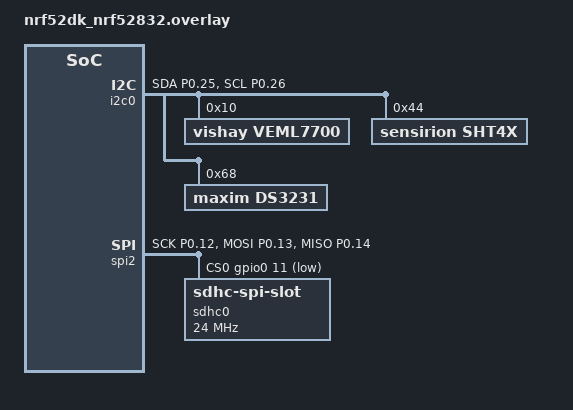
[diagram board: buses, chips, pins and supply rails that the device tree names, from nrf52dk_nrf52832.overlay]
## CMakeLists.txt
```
cmake_minimum_required(VERSION 3.20.0)
find_package(Zephyr REQUIRED HINTS $ENV{ZEPHYR_BASE})

project(cactuslux_firmware)

#add libraries
#include_directories(include)
#add_library(Adafruit_VEML7700 STATIC lib/Adafruit_VEML7700.cpp)
#add_library(simple_math STATIC lib/simple_math.c)

target_sources(app PRIVATE src/main.c)
#target_link_libraries(app PRIVATE simple_math)
```

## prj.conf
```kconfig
CONFIG_LOG_PRINTK=n
CONFIG_LOG_BACKEND_RTT=y
CONFIG_LOG=n
CONFIG_LOG_BACKEND_UART=y
CONFIG_PRINTK=y

CONFIG_SPI=y
CONFIG_I2C=y
CONFIG_SENSOR=y
CONFIG_GPIO=y

CONFIG_VEML7700=y
CONFIG_CBPRINTF_FP_SUPPORT=y

CONFIG_DISK_ACCESS=y
CONFIG_FILE_SYSTEM=y
CONFIG_FAT_FILESYSTEM_ELM=y
CONFIG_DISK_DRIVER_SDMMC=y
CONFIG_MAIN_STACK_SIZE=2048

# For RTC
CONFIG_COUNTER=y
CONFIG_COUNTER_MAXIM_DS3231=y
CONFIG_COUNTER_INIT_PRIORITY=65
CONFIG_REQUIRES_FULL_LIBC=y # Minimal libc doesn't have strftime()
```

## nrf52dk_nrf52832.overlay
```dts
// To get started, press Ctrl+Space to bring up the completion menu and view the available nodes.

// You can also use the buttons in the sidebar to perform actions on nodes.
// Actions currently available include:

// * Enabling / disabling the node
// * Adding the bus to a bus
// * Removing the node
// * Connecting ADC channels

// For more help, browse the DeviceTree documentation at https://docs.zephyrproject.org/latest/guides/dts/index.html
// You can also visit the nRF DeviceTree extension documentation at https://nrfconnect.github.io/vscode-nrf-connect/devicetree/nrfdevicetree.html

&i2c0 {
    compatible = "nordic,nrf-twim";
    status = "okay";
    pinctrl-0 = <&i2c0_default>;
	pinctrl-1 = <&i2c0_sleep>;
	pinctrl-names = "default", "sleep";

    veml7700:veml7700@10{
        compatible = "vishay,veml7700";
        reg = < 0x10 >;
        label = "VEML7700";
    };

	sht4x:sht4x@44{
		compatible = "sensirion,sht4x";
		reg = <0x44>;
		repeatability = <2>;
	};

	ds3231: ds3231@68 {
		compatible = "maxim,ds3231";
		reg = <0x68>;
		//isw-gpios = <&gpio0 0 (GPIO_PULL_UP | GPIO_ACTIVE_LOW)>;
	};
};

&pinctrl{
    i2c0_default: i2c0_default {
		group1 {
			psels = <NRF_PSEL(TWIM_SDA, 0, 25)>,
				<NRF_PSEL(TWIM_SCL, 0, 26)>;
		};
	};

	i2c0_sleep: i2c0_sleep {
		group1 {
			psels = <NRF_PSEL(TWIM_SDA, 0, 25)>,
				<NRF_PSEL(TWIM_SCL, 0, 26)>;
			low-power-enable;
		};
	};

	spi2_default: spi2_default {
		group1 {
			psels = <NRF_PSEL(SPIM_SCK, 0, 12)>,
				<NRF_PSEL(SPIM_MOSI, 0, 13)>,
				<NRF_PSEL(SPIM_MISO, 0, 14)>;
		};
	};

	spi2_sleep: spi2_sleep {
		group1 {
			psels = <NRF_PSEL(SPIM_SCK, 0, 12)>,
				<NRF_PSEL(SPIM_MOSI, 0, 13)>,
				<NRF_PSEL(SPIM_MISO, 0, 14)>;
			low-power-enable;
		};
	};
};

&spi0 {
    status = "disabled";
};

&spi2 {
	compatible = "nordic,nrf-spi";
	status = "okay";
	cs-gpios = <&gpio0 11 GPIO_ACTIVE_LOW>;
	pinctrl-0 = <&spi2_default>;
	pinctrl-1 = <&spi2_sleep>;

	sdhc0:sdhc@0 {
		compatible = "zephyr,sdhc-spi-slot";
		reg = <0x0>;
		status = "okay";
		spi-max-frequency = <24000000>;
		mmc {
			compatible = "zephyr,sdmmc-disk";
			status = "okay";
			//disk-name = "SD"; //only for 3.7.0 and beyond
		};
	};

	pinctrl-names = "default", "sleep";
};
```

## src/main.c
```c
#include <stdio.h>
#include <zephyr/kernel.h>
#include <zephyr/drivers/gpio.h>
#include <zephyr/drivers/sensor.h>
#include <zephyr/drivers/sensor/veml7700.h> //required for enums
#include <zephyr/drivers/i2c.h>
#include <zephyr/device.h>
#include <zephyr/storage/disk_access.h>
#include <zephyr/logging/log.h>
#include <zephyr/fs/fs.h>
#include <ff.h>
#include <math.h>
#include <zephyr/drivers/rtc/maxim_ds3231.h>
#include <zephyr/drivers/counter.h>
#include <time.h>

// Defines for Lux sensor
#define I2C0_NODE DT_NODELABEL(veml7700)

// Defines for SD Card
#define MAX_PATH 128
#define SOME_FILE_NAME "data.txt"
#define SOME_DIR_NAME "data"
#define SOME_REQUIRED_LEN MAX(sizeof(SOME_FILE_NAME), sizeof(SOME_DIR_NAME))

// Setup for SD Card with fatfs library
static const char *disk_mount_pt = "/SD:";
LOG_MODULE_REGISTER(main);
static int lsdir(const char *path);

static FATFS fat_fs;
/* mounting info */
static struct fs_mount_t mp = {
	.type = FS_FATFS,
	.fs_data = &fat_fs,
};

typedef struct {
	int32_t lux;
	float temp;
	float rh;
	char datetime[128];
} SensorData;

/* Function to create data directory and file if it doesn't exist */
static bool create_directory(const char *base_path) {
	char path[MAX_PATH];
	struct fs_file_t file;
	int base = strlen(base_path);

	fs_file_t_init(&file);

	if (base >= (sizeof(path) - SOME_REQUIRED_LEN)) {
		LOG_ERR("Not enough concatenation buffer to create file paths");
		return false;
	}

	strncpy(path, base_path, sizeof(path)); //creates the base path

	path[base++] = '/';
	path[base] = 0; //null terminates after the "/"
	strcat(&path[base], SOME_DIR_NAME); //Adds the directory name
	//LOG_INF("Base path before directory created: %s\n", path);

	if (fs_mkdir(path) == -EEXIST){
		LOG_ERR("Failed to create dir because already exists, %s", path);
	}
	else {
		LOG_ERR("Failed to create dir, %s", path);
	}

	//Update the path to where the file is created
	base += strlen(SOME_DIR_NAME);
	path[base++] = '/';
	path[base] = 0;
	strcat(&path[base], SOME_FILE_NAME);
	//LOG_INF("Base path after directory created: %s\n", path);

	if (fs_open(&file, path, FS_O_CREATE) != 0) {
		LOG_ERR("Failed to create file %s", path);
		return false;
	}
	fs_close(&file);

	return true;
}

/* Format times as: YYYY-MM-DD HH:MM:SS DOW DOY */
static char *format_time(struct tm *time){ 
	static char buf[64]; //buffer to store formatted time
	char *bp = buf; //pointer to the current write position
	char *const bpe = bp + sizeof(buf); //pointer to the end of the buffer
	//struct tm *tp = time;
	bp += strftime(bp, bpe - bp, "%Y-%m-%d %H:%M:%S", time); //format date and time as a string, adjusts the write location of bp by N*sizeof(char)
	bp += strftime(bp, bpe - bp, " %a", time);
	return buf;
}

struct tm get_rtc_time(const struct device *i2c_dev){
	// Directly reads and interprets the date time registers of the DS3231, outputs a tm struct
	uint8_t buf_sec = 0, buf_min = 0, buf_hour = 0, buf_day = 0, buf_date = 0, buf_month = 0, buf_year = 0;
	struct tm current_time = {0};
	int ret = i2c_reg_read_byte(i2c_dev, 0x68, 0x00, &buf_sec);
	ret = i2c_reg_read_byte(i2c_dev, 0x68, 0x01, &buf_min);
	ret = i2c_reg_read_byte(i2c_dev, 0x68, 0x02, &buf_hour);
	ret = i2c_reg_read_byte(i2c_dev, 0x68, 0x03, &buf_day);
	ret = i2c_reg_read_byte(i2c_dev, 0x68, 0x04, &buf_date);
	ret = i2c_reg_read_byte(i2c_dev, 0x68, 0x05, &buf_month);
	ret = i2c_reg_read_byte(i2c_dev, 0x68, 0x06, &buf_year);
	// if (ret != 0){
	// 	printk("There was an error reading from the register");
	// }
	current_time.tm_sec = (((buf_sec & 112) >> 4) * 10) + (buf_sec & 15);//((buf_sec / 10) << 4) | (buf_sec % 10);
	current_time.tm_min = (((buf_min & 112) >> 4) * 10) + (buf_min & 15);

	int hour_calc = (((buf_hour & 16) >> 4) * 10) + (buf_hour & 15);
	if (((buf_hour & 64) >> 6) == 1){ //this means 12 hour format
		if (((buf_hour & 32) >> 5) == 1){ //this means PM
			//handle edge cases:
			if (hour_calc == 12){
				current_time.tm_hour = 12; //convert to 24 hour time
			}
		} else { //this means AM time
			if (hour_calc == 12){
				current_time.tm_hour = 0; //convert to 24 hour time
			}
		}
	} else {
		current_time.tm_hour = hour_calc + (((buf_hour & 32) >> 5) * 20);  //24 hour time
	}
	current_time.tm_wday = buf_day;
	current_time.tm_mday = (((buf_date & 48) >> 4) * 10) + (buf_date & 15);
	current_time.tm_mon = (((buf_month & 16) >> 4) * 10) + (buf_month & 15); //ignore bit 7
	current_time.tm_year = (((buf_year & 240) >> 4) * 10) + (buf_year & 15);
	//printk("The following buffers contains: sec: %hhu, min: %hhu, hour: %hhu, wday: %hhu, mday: %hhu, mon: %hhu, year: %hhu\n", buf_sec, buf_min, buf_hour, buf_day, buf_date, buf_month, buf_year);
	//printk("The time formatted is: sec: %d, min: %d, hour: %d, wday: %d, mday: %d, mon: %d, year: %d\n", current_time.tm_sec, current_time.tm_min, current_time.tm_hour, current_time.tm_wday, current_time.tm_mday, current_time.tm_mon, current_time.tm_year);
	return current_time;
}

/* Function to write data to directory */
static bool write_data_to_sd(const char *base_path, SensorData *data) {
	struct fs_file_t file;
	fs_file_t_init(&file);
	int buffer_size = 256;
	char logging_data[buffer_size];
	
	//Generate the path for writing the data based on macros for filenames
	char path[MAX_PATH];
	int base = strlen(base_path);
	strncpy(path, base_path, sizeof(path)); //creates the base path
	path[base++] = '/';
	path[base] = 0; //null terminates after the "/"
	strcat(&path[base], SOME_DIR_NAME); //Adds the directory name
	base += strlen(SOME_DIR_NAME);
	path[base++] = '/';
	path[base] = 0;
	strcat(&path[base], SOME_FILE_NAME);

	//printk("The lux inside the write function is: %"PRId32"\n", data->lux);
	snprintf(logging_data, buffer_size, "[%s], %"PRId32" lux, %f F, %f%%\n", data->datetime, data->lux, data->temp, data->rh); //copy the sensor data into the buffer

	//printk("The size of sizeof(logging_data) is: %zu, where the size of strlen() is: %zu\n", sizeof(logging_data), strlen(logging_data));

	// Open up the SD Card
	if (fs_open(&file, path, FS_O_WRITE | FS_O_APPEND) != 0) {
		LOG_ERR("Failed to create file within write function %s", path);
		return false;
	}
	else {
		fs_write(&file, logging_data, strlen(logging_data));
		LOG_INF("Successfully opened up file within write function in path: %s", path);
		fs_close(&file);
	}
	return true;
}

// void update_sensor_data(SensorData *sensor_data){

// }

int main(void)
{
	SensorData sensor_data; //struct for storing data
	SensorData *sd_ptr = &sensor_data;
	bool start_flag = false;
	//double corrected_lux;
	//coefficients for correction function
	// double coeff_a = pow(6.0135, -13);
	// double coeff_b = pow(9.3924, -9);
	// double coeff_c = pow(8.1488, -5);
	// double coeff_d = 1.0023;
	//printk("The coefficients for the correction formula are:\ta: %.15lf, b: %.15lf, c: %.15lf, d: %.15lf\n", coeff_a, coeff_b, coeff_c, coeff_d);

	//retrieve the API-specific device structures
	const struct device *i2c_dev = DEVICE_DT_GET(DT_NODELABEL(i2c0));
	const struct device *veml_dev = DEVICE_DT_GET(DT_INST(0,vishay_veml7700));
	const struct device *sht45_dev = DEVICE_DT_GET(DT_INST(0,sensirion_sht4x));
	const struct device *ds3231_dev = DEVICE_DT_GET(DT_INST(0,maxim_ds3231));

	// if (sht45_dev == NULL) {
	// 	/* No such node, or the node does not have status "okay". */
	// 	LOG_INF("\nError: no sht45 found.\n");
	// }
	// if (!device_is_ready(veml_dev)) {
	// 	LOG_INF("\nError: Device \"%s\" is not ready; "
	// 			"check the driver initialization logs for errors.\n",
	// 			veml_dev->name);
	// }
	// LOG_INF("Found device \"%s\", getting sensor data\n", sht45_dev->name);

	/* raw disk i/o */
	do {
		static const char *disk_pdrv = "SD";
		uint64_t memory_size_mb;
		uint32_t block_count;
		uint32_t block_size;

		if (disk_access_init(disk_pdrv) != 0) {
			LOG_ERR("Storage init ERROR!");
			break;
		}

		if (disk_access_ioctl(disk_pdrv,
				DISK_IOCTL_GET_SECTOR_COUNT, &block_count)) {
			LOG_ERR("Unable to get sector count");
			break;
		}
		LOG_INF("Block count %u", block_count);

		if (disk_access_ioctl(disk_pdrv,
				DISK_IOCTL_GET_SECTOR_SIZE, &block_size)) {
			LOG_ERR("Unable to get sector size");
			break;
		}
		LOG_INF("Sector size %u", block_size);

		memory_size_mb = (uint64_t)block_count * block_size;
		LOG_INF("Memory Size(MB) %u", (uint32_t)(memory_size_mb >> 20));
	} while (0);

	//define the mounting point
	mp.mnt_point = disk_mount_pt;

	// define sensor_value struct
	static struct sensor_value lux;
	static struct sensor_value gain;
	static struct sensor_value it;
	// sensor readings for sht45
	static struct sensor_value temp;
	static struct sensor_value rh;

	//configure the sensor registers
	gain.val1 = VEML7700_ALS_GAIN_1_8; //gain of 1/8
	it.val1 = VEML7700_ALS_IT_25; //25 ms integration time
	sensor_attr_set(veml_dev, SENSOR_CHAN_LIGHT, SENSOR_ATTR_VEML7700_GAIN, &gain);
	LOG_INF("The gain attribute has been set to %d.", gain.val1);
	sensor_attr_set(veml_dev, SENSOR_CHAN_LIGHT, SENSOR_ATTR_VEML7700_ITIME, &it);
	LOG_INF("The integration time has been set to %d", it.val1);
	//sensor_attr_get(dev, SENSOR_CHAN_LIGHT, SENSOR_ATTR_VEML7700_ITIME, &it2);
	//printk("The integration time returned is %d\n", it2.val1);

	// while loop for data logging
	while (1){
		int res = fs_mount(&mp);
		if (res == FR_OK) {
			LOG_INF("Disk mounted.");
			if (start_flag == false) { //do this once only
				if (lsdir(disk_mount_pt) < 0) {
					LOG_ERR("Error opening directory using lsdir()");
				}
				if (create_directory(disk_mount_pt)) {
					LOG_INF("create_directory() returned true");
				}
				start_flag = true;
			}
		}
		else {
			LOG_ERR("Error mounting disk.");
		}

		sensor_sample_fetch_chan(veml_dev, SENSOR_CHAN_LIGHT);
        sensor_channel_get(veml_dev, SENSOR_CHAN_LIGHT, &lux);
		sensor_sample_fetch_chan(sht45_dev, SENSOR_CHAN_AMBIENT_TEMP);
		sensor_channel_get(sht45_dev, SENSOR_CHAN_AMBIENT_TEMP, &temp);
		sensor_sample_fetch_chan(sht45_dev, SENSOR_CHAN_HUMIDITY);
		sensor_channel_get(sht45_dev, SENSOR_CHAN_HUMIDITY, &rh);

		struct tm tm_curr_time = get_rtc_time(i2c_dev);

		//corrected_lux = coeff_a * pow(lux.val1, 4) - coeff_b * pow(lux.val1, 3) + coeff_c * pow(lux.val1, 2) + coeff_d * lux.val1;

		sensor_data.lux = lux.val1;
		sensor_data.temp = (float)(((temp.val1 + (temp.val2 * 0.000001)) * 9 / 5) + 32.0 );
		sensor_data.rh = rh.val1 + (rh.val2 * 0.000001);
		 // Optionally clear the array (not strictly necessary before overwriting)
		memset(sd_ptr->datetime, 0, sizeof(sd_ptr->datetime));
		// Safely format and write the new datetime string
		snprintf(sd_ptr->datetime, sizeof(sd_ptr->datetime), "%s", format_time(&tm_curr_time));

		if (write_data_to_sd(disk_mount_pt, &sensor_data)){
			LOG_INF("Data successfully written to file");
		}
        printk("Datetime: %s, Lux: %"PRId32", TempF: %f, RH: %f%%\n", sensor_data.datetime, sensor_data.lux, sensor_data.temp, sensor_data.rh);

		fs_unmount(&mp);//unmount the filesystem for safety
		LOG_INF("Filesystem unmounted\n");
        	k_sleep(K_MSEC(3000));
	}

	return 0;
}

static int lsdir(const char *path)
{
	int res;
	struct fs_dir_t dirp;
	static struct fs_dirent entry;
	int count = 0;

	fs_dir_t_init(&dirp);

	/* Verify fs_opendir() */
	res = fs_opendir(&dirp, path);
	if (res) {
		LOG_ERR("Error opening dir %s [%d]", path, res);
		return res;
	}

	LOG_INF("Listing dir %s ...", path);
	for (;;) {
		/* Verify fs_readdir() */
		res = fs_readdir(&dirp, &entry);

		/* entry.name[0] == 0 means end-of-dir */
		if (res || entry.name[0] == 0) {
			break;
		}

		if (entry.type == FS_DIR_ENTRY_DIR) {
			LOG_INF("[DIR ] %s", entry.name);
		} else {
			LOG_INF("[FILE] %s (size = %zu)",
				entry.name, entry.size);
		}
		count++;
	}

	/* Verify fs_closedir() */
	fs_closedir(&dirp);
	if (res == 0) {
		res = count;
	}

	return res;
}
```
